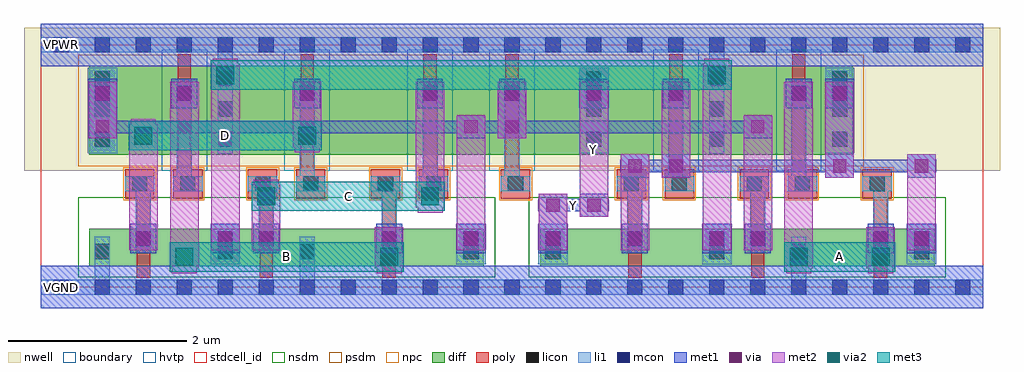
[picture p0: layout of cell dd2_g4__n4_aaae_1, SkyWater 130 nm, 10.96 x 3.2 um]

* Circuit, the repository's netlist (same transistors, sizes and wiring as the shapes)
* Generated reference circuit; dimensions in micrometers.
.subckt dd2_g4__n4_aaae_1 A B C D VGND VNB VPB VPWR Y
XM0 _net1 A VGND VNB sky130_fd_pr__nfet_01v8 w=0.420 l=0.150
XM1 _net1 A VPWR VPB sky130_fd_pr__pfet_01v8_hvt w=1.000 l=0.150
XM2 _net2 B VGND VNB sky130_fd_pr__nfet_01v8 w=0.420 l=0.150
XM3 _net2 B VPWR VPB sky130_fd_pr__pfet_01v8_hvt w=1.000 l=0.150
XM4 Y _net1 _net3 VNB sky130_fd_pr__nfet_01v8 w=0.420 l=0.150
XM5 _net3 _net2 VGND VNB sky130_fd_pr__nfet_01v8 w=0.420 l=0.150
XM6 _net3 C VGND VNB sky130_fd_pr__nfet_01v8 w=0.420 l=0.150
XM7 _net3 D VGND VNB sky130_fd_pr__nfet_01v8 w=0.420 l=0.150
XM8 Y _net1 VPWR VPB sky130_fd_pr__pfet_01v8_hvt w=1.000 l=0.150
XM9 Y _net2 _net4 VPB sky130_fd_pr__pfet_01v8_hvt w=1.000 l=0.150
XM10 _net4 C _net5 VPB sky130_fd_pr__pfet_01v8_hvt w=1.000 l=0.150
XM11 _net5 D VPWR VPB sky130_fd_pr__pfet_01v8_hvt w=1.000 l=0.150
.ends dd2_g4__n4_aaae_1

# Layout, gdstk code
import gdstk
lib = gdstk.Library(unit=1e-6, precision=1e-09)
def R(c, l, rs):  # rectangles x0, y0, x1, y1
    for r in rs: c.add(gdstk.rectangle(r[:2], r[2:], *l))
def A(c, l, x, y, w, h, nx, ny, dx, dy):  # array of equal rectangles
    R(c, l, [(x+i*dx, y+j*dy, x+i*dx+w, y+j*dy+h) for i in range(nx) for j in range(ny)])
nwell = (64, 20)
diff = (65, 20)
poly = (66, 20)
licon = (66, 44)
li1 = (67, 20)
mcon = (67, 44)
met1 = (68, 20)
via = (68, 44)
met2 = (69, 20)
via2 = (69, 44)
met3 = (70, 20)
hvtp = (78, 44)
stdcell_id = (81, 4)
nsdm = (93, 44)
psdm = (94, 20)
npc = (95, 20)
boundary = (235, 4)

dd2_g4__n4_aaae_1 = lib.new_cell('dd2_g4__n4_aaae_1')
R(dd2_g4__n4_aaae_1, nwell, [(-0.19,1.305,10.77,2.91)])
R(dd2_g4__n4_aaae_1, diff, [(0.545,0.235,2.07,0.655), (2.07,0.235,2.99,0.655), (2.99,0.235,4.975,0.655), (5.605,0.235,7.59,0.655), (7.59,0.235,8.51,0.655), (8.51,0.235,10.035,0.655), (0.545,1.485,2.07,2.485), (2.07,1.485,3.22,2.485), (3.22,1.485,4.83,2.485), (4.83,1.485,6.21,2.485), (6.21,1.485,7.59,2.485), (7.59,1.485,9.115,2.485)])
A(dd2_g4__n4_aaae_1, poly, 1.075, 0.105, 0.15, 1.22, 3, 1, 1.38, 0)
A(dd2_g4__n4_aaae_1, poly, 6.595, 0.105, 0.15, 1.22, 3, 1, 1.38, 0)
A(dd2_g4__n4_aaae_1, poly, 1.535, 0.995, 0.15, 1.62, 3, 1, 1.38, 0)
R(dd2_g4__n4_aaae_1, poly, [(0.945,0.995,1.275,1.325), (1.485,0.995,1.815,1.325), (2.325,0.995,2.655,1.325), (2.865,0.995,3.195,1.325), (3.705,0.995,4.035,1.325), (4.245,0.995,4.575,1.325), (5.165,0.995,5.495,1.325), (5.215,0.995,5.365,2.615), (6.465,0.995,6.795,1.325), (7.005,0.995,7.335,1.325), (7.055,0.995,7.205,2.615), (7.845,0.995,8.175,1.325), (8.385,0.995,8.715,1.325), (8.435,0.995,8.585,2.615), (9.225,0.995,9.555,1.325)])
A(dd2_g4__n4_aaae_1, licon, 0.605, 1.575, 0.17, 0.17, 1, 3, 0, 0.34)
A(dd2_g4__n4_aaae_1, licon, 1.985, 1.575, 0.17, 0.17, 1, 3, 0, 0.34)
A(dd2_g4__n4_aaae_1, licon, 6.125, 1.575, 0.17, 0.17, 3, 3, 1.38, 0.34)
R(dd2_g4__n4_aaae_1, licon, [(0.605,0.315,0.775,0.485), (1.985,0.315,2.155,0.485), (2.905,0.315,3.075,0.485), (4.745,0.315,4.915,0.485), (5.665,0.315,5.835,0.485), (7.505,0.315,7.675,0.485), (8.425,0.315,8.595,0.485), (9.805,0.315,9.975,0.485), (1.025,1.075,1.195,1.245), (1.565,1.075,1.735,1.245), (2.405,1.075,2.575,1.245), (2.945,1.075,3.115,1.245), (3.785,1.075,3.955,1.245), (4.325,1.075,4.495,1.245), (5.245,1.075,5.415,1.245), (6.545,1.075,6.715,1.245), (7.085,1.075,7.255,1.245), (7.925,1.075,8.095,1.245), (8.465,1.075,8.635,1.245), (9.305,1.075,9.475,1.245)])
A(dd2_g4__n4_aaae_1, li1, 1.065, 0.38, 0.17, 0.33, 3, 1, 1.38, 0)
A(dd2_g4__n4_aaae_1, li1, 6.585, 0.38, 0.17, 0.33, 3, 1, 1.38, 0)
A(dd2_g4__n4_aaae_1, li1, 1.065, 0.46, 0.17, 0.785, 3, 1, 1.38, 0)
A(dd2_g4__n4_aaae_1, li1, 6.585, 0.46, 0.17, 0.785, 3, 1, 1.38, 0)
A(dd2_g4__n4_aaae_1, li1, 1.525, 1.075, 0.17, 1.185, 3, 1, 1.38, 0)
A(dd2_g4__n4_aaae_1, li1, 1.525, 2.01, 0.17, 0.33, 3, 1, 1.38, 0)
R(dd2_g4__n4_aaae_1, li1, [(0,-0.085,10.58,0.085), (0.605,-0.085,0.775,0.565), (2.905,-0.085,3.075,0.565), (8.425,-0.085,8.595,0.565), (1.905,0.255,2.235,0.635), (4.665,0.255,4.995,0.635), (5.585,0.255,5.915,0.635), (7.425,0.255,7.755,0.635), (9.725,0.255,10.055,0.635), (1.905,0.38,2.235,0.71), (4.665,0.38,4.995,0.71), (5.585,0.38,5.915,0.71), (7.425,0.38,7.755,0.71), (9.725,0.38,10.055,0.71), (0.945,1.075,1.275,1.245), (1.485,1.075,1.815,1.245), (2.325,1.075,2.655,1.245), (2.865,1.075,3.195,1.245), (3.705,1.075,4.035,1.245), (4.245,1.075,4.575,1.245), (5.165,1.075,5.495,1.245), (5.205,1.075,5.375,2.26), (6.465,1.075,6.795,1.245), (7.005,1.075,7.335,1.245), (7.045,1.075,7.215,2.26), (7.845,1.075,8.175,1.245), (8.385,1.075,8.715,1.245), (8.425,1.075,8.595,2.26), (9.225,1.075,9.555,1.245), (1.985,1.495,2.155,2.805), (7.505,1.495,7.675,2.805), (0.525,1.505,0.855,2.465), (6.045,1.505,6.375,2.465), (8.805,1.505,9.135,2.465), (0.525,2.01,0.855,2.34), (5.205,2.01,5.375,2.34), (6.045,2.01,6.375,2.34), (7.045,2.01,7.215,2.34), (8.425,2.01,8.595,2.34), (8.805,2.01,9.135,2.34), (0,2.635,10.58,2.805)])
A(dd2_g4__n4_aaae_1, mcon, 0.145, -0.085, 0.17, 0.17, 23, 2, 0.46, 2.72)
A(dd2_g4__n4_aaae_1, mcon, 3.825, 0.46, 0.17, 0.17, 5, 1, 0.92, 0)
A(dd2_g4__n4_aaae_1, mcon, 1.525, 2.09, 0.17, 0.17, 3, 1, 1.38, 0)
A(dd2_g4__n4_aaae_1, mcon, 5.205, 2.09, 0.17, 0.17, 3, 1, 0.92, 0)
R(dd2_g4__n4_aaae_1, mcon, [(1.065,0.46,1.235,0.63), (1.985,0.46,2.155,0.63), (2.445,0.46,2.615,0.63), (7.965,0.46,8.135,0.63), (9.345,0.46,9.515,0.63), (9.805,0.46,9.975,0.63), (0.605,2.09,0.775,2.26), (8.425,2.09,8.595,2.26), (8.885,2.09,9.055,2.26)])
A(dd2_g4__n4_aaae_1, met1, 1.005, 0.38, 0.29, 0.33, 3, 1, 1.38, 0)
A(dd2_g4__n4_aaae_1, met1, 6.525, 0.38, 0.29, 0.33, 3, 1, 1.38, 0)
A(dd2_g4__n4_aaae_1, met1, 1.465, 2.01, 0.29, 0.33, 3, 1, 1.38, 0)
R(dd2_g4__n4_aaae_1, met1, [(0,-0.24,10.58,0.24), (1.905,0.38,2.235,0.71), (4.665,0.38,4.995,0.71), (5.585,0.38,5.915,0.71), (7.425,0.38,7.755,0.71), (9.725,0.38,10.055,0.71), (5.59,0.545,5.91,0.92), (5.59,0.79,5.91,1.05), (6.05,0.79,6.37,1.05), (5.585,0.85,6.375,0.99), (6.51,1.23,6.83,1.49), (6.97,1.23,7.29,1.49), (8.81,1.23,9.13,1.49), (9.73,1.23,10.05,1.49), (6.505,1.29,10.055,1.43), (0.53,1.67,0.85,1.93), (4.67,1.67,4.99,1.93), (5.13,1.67,5.45,1.93), (7.89,1.67,8.21,1.93), (0.525,1.73,8.215,1.87), (0.53,1.8,0.85,2.175), (5.135,1.8,5.445,2.175), (0.525,2.01,0.855,2.34), (5.145,2.01,5.435,2.34), (6.045,2.01,6.375,2.34), (6.985,2.01,7.275,2.34), (8.365,2.01,8.655,2.34), (8.805,2.01,9.135,2.34), (0,2.48,10.58,2.96)])
A(dd2_g4__n4_aaae_1, via, 3.835, 0.47, 0.15, 0.15, 5, 1, 0.92, 0)
A(dd2_g4__n4_aaae_1, via, 1.535, 2.1, 0.15, 0.15, 3, 1, 1.38, 0)
A(dd2_g4__n4_aaae_1, via, 5.215, 2.1, 0.15, 0.15, 3, 1, 0.92, 0)
R(dd2_g4__n4_aaae_1, via, [(1.075,0.47,1.225,0.62), (1.995,0.47,2.145,0.62), (2.455,0.47,2.605,0.62), (7.975,0.47,8.125,0.62), (9.355,0.47,9.505,0.62), (9.815,0.47,9.965,0.62), (5.675,0.845,5.825,0.995), (6.135,0.845,6.285,0.995), (6.595,1.285,6.745,1.435), (7.055,1.285,7.205,1.435), (8.895,1.285,9.045,1.435), (9.815,1.285,9.965,1.435), (0.615,1.725,0.765,1.875), (4.755,1.725,4.905,1.875), (5.215,1.725,5.365,1.875), (7.975,1.725,8.125,1.875), (0.615,2.1,0.765,2.25), (8.435,2.1,8.585,2.25), (8.895,2.1,9.045,2.25)])
R(dd2_g4__n4_aaae_1, met2, [(1.47,0.155,1.75,0.525), (3.77,0.155,4.05,0.525), (8.37,0.155,8.65,0.525), (9.29,0.155,9.57,0.525), (1.45,0.21,1.77,2.305), (3.75,0.21,4.07,0.675), (8.35,0.21,8.67,2.305), (9.27,0.21,9.59,0.675), (0.99,0.415,1.31,1.83), (1.91,0.415,2.23,2.51), (2.37,0.415,2.69,1.15), (4.67,0.415,4.99,1.93), (5.59,0.415,5.91,1.05), (6.51,0.415,6.83,1.49), (7.43,0.415,7.75,2.51), (7.89,0.415,8.21,1.93), (9.73,0.415,10.05,1.49), (5.59,0.79,5.91,1.05), (6.05,0.79,6.37,2.305), (6.05,0.79,6.37,1.05), (2.39,0.835,2.67,1.205), (4.23,0.835,4.51,1.205), (4.21,0.89,4.53,2.305), (6.51,1.23,6.83,1.49), (6.97,1.23,7.29,1.49), (6.97,1.23,7.29,2.305), (8.81,1.23,9.13,1.49), (8.81,1.23,9.13,2.305), (9.73,1.23,10.05,1.49), (1.01,1.515,1.29,1.885), (2.85,1.515,3.13,1.885), (2.83,1.57,3.15,2.305), (0.53,1.67,0.85,1.93), (0.53,1.67,0.85,2.305), (4.67,1.67,4.99,1.93), (5.13,1.67,5.45,1.93), (5.13,1.67,5.45,2.305), (7.89,1.67,8.21,1.93), (1.93,2.195,2.21,2.565), (7.45,2.195,7.73,2.565)])
R(dd2_g4__n4_aaae_1, via2, [(1.51,0.24,1.71,0.44), (3.81,0.24,4.01,0.44), (8.41,0.24,8.61,0.44), (9.33,0.24,9.53,0.44), (2.43,0.92,2.63,1.12), (4.27,0.92,4.47,1.12), (1.05,1.6,1.25,1.8), (2.89,1.6,3.09,1.8), (1.97,2.28,2.17,2.48), (7.49,2.28,7.69,2.48)])
R(dd2_g4__n4_aaae_1, met3, [(1.445,0.175,4.075,0.505), (1.445,0.175,1.775,0.505), (3.745,0.175,4.075,0.505), (8.345,0.175,9.595,0.505), (8.345,0.175,8.675,0.505), (9.265,0.175,9.595,0.505), (2.365,0.855,4.535,1.185), (2.365,0.855,2.695,1.185), (4.205,0.855,4.535,1.185), (0.985,1.535,3.155,1.865), (0.985,1.535,1.315,1.865), (2.825,1.535,3.155,1.865), (1.905,2.215,7.755,2.545), (1.905,2.215,2.235,2.545), (7.425,2.215,7.755,2.545)])
A(dd2_g4__n4_aaae_1, hvtp, 1.355, 1.305, 0.51, 1.36, 3, 1, 1.38, 0)
R(dd2_g4__n4_aaae_1, hvtp, [(5.035,1.305,5.545,2.665), (6.875,1.305,7.385,2.665), (8.255,1.305,8.765,2.665)])
R(dd2_g4__n4_aaae_1, stdcell_id, [(0,0,10.58,2.72)])
R(dd2_g4__n4_aaae_1, nsdm, [(0.42,0.11,5.1,1.01), (5.48,0.11,10.16,1.01)])
R(dd2_g4__n4_aaae_1, psdm, [(0.42,1.36,9.24,2.61)])
R(dd2_g4__n4_aaae_1, npc, [(0.925,0.975,1.295,1.345), (1.465,0.975,1.835,1.345), (2.305,0.975,2.675,1.345), (2.845,0.975,3.215,1.345), (3.685,0.975,4.055,1.345), (4.225,0.975,4.595,1.345), (5.145,0.975,5.515,1.345), (6.445,0.975,6.815,1.345), (6.985,0.975,7.355,1.345), (7.825,0.975,8.195,1.345), (8.365,0.975,8.735,1.345), (9.205,0.975,9.575,1.345)])
R(dd2_g4__n4_aaae_1, boundary, [(0,0,10.58,2.72)])
dd2_g4__n4_aaae_1.add(gdstk.Label('VGND', (0.23,0), layer=68, texttype=5))
dd2_g4__n4_aaae_1.add(gdstk.Label('VPWR', (0.23,2.72), layer=68, texttype=5))
dd2_g4__n4_aaae_1.add(gdstk.Label('Y', (5.98,0.92), layer=68, texttype=5))
dd2_g4__n4_aaae_1.add(gdstk.Label('Y', (6.21,1.545), layer=69, texttype=5))
dd2_g4__n4_aaae_1.add(gdstk.Label('VPB', (0.23,2.72), layer=64, texttype=5))
dd2_g4__n4_aaae_1.add(gdstk.Label('VNB', (0.23,0), layer=64, texttype=59))
dd2_g4__n4_aaae_1.add(gdstk.Label('A', (8.97,0.34), layer=70, texttype=5))
dd2_g4__n4_aaae_1.add(gdstk.Label('B', (2.76,0.34), layer=70, texttype=5))
dd2_g4__n4_aaae_1.add(gdstk.Label('C', (3.45,1.02), layer=70, texttype=5))
dd2_g4__n4_aaae_1.add(gdstk.Label('D', (2.07,1.7), layer=70, texttype=5))

lib.write_gds('dd2_g4__n4_aaae_1.gds')
